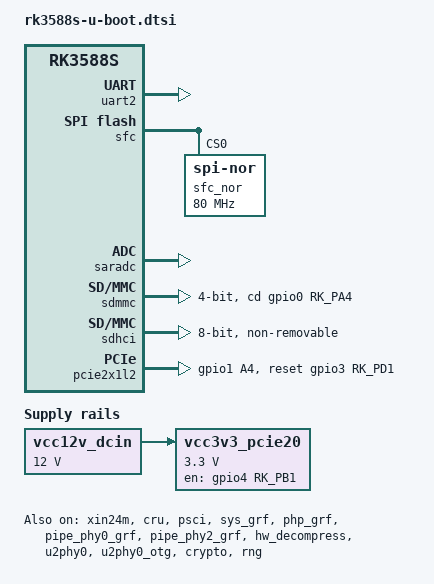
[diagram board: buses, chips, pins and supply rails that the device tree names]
/*
 * (C) Copyright 2021 Rockchip Electronics Co., Ltd
 *
 * SPDX-License-Identifier:     GPL-2.0+
 */

#include <dt-bindings/gpio/gpio.h>

/ {
	aliases {
		mmc0 = &sdhci;
		mmc1 = &sdmmc;
	};

	chosen {
		stdout-path = &uart2;
		u-boot,spl-boot-order = &spi_nor;
	};

	secure-otp@fe3a0000 {
		u-boot,dm-spl;
		compatible = "rockchip,rk3588-secure-otp";
		reg = <0x0 0xfe3a0000 0x0 0x4000>;
	};

	crypto: crypto@fe370000 {
                compatible = "rockchip,rk3588-crypto";
                reg = <0x0 0xfe370000 0x0 0x4000>;
                clocks = <&scmi_clk SCMI_CRYPTO_CORE>, <&scmi_clk SCMI_CRYPTO_PKA>;
                clock-names = "sclk_crypto", "apkclk_crypto";
                clock-frequency = <350000000>, <350000000>;
                status = "disabled";
        };

        rng: rng@fe378000 {
                compatible = "rockchip,trngv1";
                reg = <0x0 0xfe378000 0x0 0x200>;
                status = "disabled";
        };

	vcc12v_dcin: vcc12v-dcin {
                compatible = "regulator-fixed";
                regulator-name = "vcc12v_dcin";
                regulator-always-on;
                regulator-boot-on;
                regulator-min-microvolt = <12000000>;
                regulator-max-microvolt = <12000000>;
        };

	vcc3v3_pcie20: vcc3v3-pcie20 {
                compatible = "regulator-fixed";
                regulator-name = "vcc3v3_pcie20";
                regulator-min-microvolt = <3300000>;
                regulator-max-microvolt = <3300000>;
                enable-active-high;
                gpios = <&gpio4 RK_PB1 GPIO_ACTIVE_HIGH>;
                startup-delay-us = <5000>;
                vin-supply = <&vcc12v_dcin>;
        };
};

&firmware {
	u-boot,dm-spl;
};

&gpio0 {
	u-boot,dm-spl;
	status = "okay";
};
&gpio1 {
	u-boot,dm-pre-reloc;
	status = "okay";
};

&gpio2 {
	u-boot,dm-pre-reloc;
	status = "okay";
};
&gpio3 {
	u-boot,dm-pre-reloc;
	status = "okay";
};

&gpio4 {
	u-boot,dm-pre-reloc;
	status = "okay";
};

&scmi {
	u-boot,dm-spl;
};

&scmi_clk {
	u-boot,dm-spl;
};

&sram {
	u-boot,dm-spl;
};

&scmi_shmem {
	u-boot,dm-spl;
};

&xin24m {
	u-boot,dm-pre-reloc;
	status = "okay";
};

&cru {
	u-boot,dm-spl;
	status = "okay";
};

&psci {
	u-boot,dm-pre-reloc;
	status = "okay";
};

&crypto {
	u-boot,dm-spl;
	status = "okay";
};

&sys_grf {
	u-boot,dm-spl;
	status = "okay";
};

&php_grf {
	u-boot,dm-pre-reloc;
	status = "okay";
};

&pipe_phy0_grf {
	u-boot,dm-pre-reloc;
	status = "okay";
};

&pipe_phy2_grf {
	u-boot,dm-pre-reloc;
	status = "okay";
};

&uart2 {
	u-boot,dm-spl;
	status = "okay";
};

&hw_decompress {
	u-boot,dm-spl;
	status = "okay";
};

&rng {
	u-boot,dm-pre-reloc;
	status = "okay";
};

&sfc {
	u-boot,dm-spl;
	status = "okay";

	#address-cells = <1>;
	#size-cells = <0>;

	spi_nor: flash@0 {
		u-boot,dm-spl;
		compatible = "jedec,spi-nor";
		label = "sfc_nor";
		reg = <0>;
		spi-tx-bus-width = <1>;
		spi-rx-bus-width = <4>;
		spi-max-frequency = <80000000>;
	};
};

&saradc {
	u-boot,dm-pre-reloc;
	status = "okay";
};

&sdmmc {
	bus-width = <4>;
	u-boot,dm-spl;
	cd-gpios = <&gpio0 RK_PA4 GPIO_ACTIVE_HIGH>;
	status = "okay";
};

&sdhci {
	bus-width = <8>;
	u-boot,dm-spl;
	mmc-hs200-1_8v;
	non-removable;
	status = "okay";
};

&usb2phy0_grf {
	u-boot,dm-pre-reloc;
};

&u2phy0 {
	u-boot,dm-pre-reloc;
	status = "okay";
};

&u2phy0_otg {
	u-boot,dm-pre-reloc;
	status = "okay";
};

/* Support SPL-PINCTRL:
 * 1. ioc
 * 2. pinctrl(sdmmc)
 * 3. gpio if need
 */
&ioc {
	u-boot,dm-spl;
};

&pinctrl {
	u-boot,dm-spl;
	/delete-node/ sdmmc;
	sdmmc {
		u-boot,dm-spl;
		sdmmc_bus4: sdmmc-bus4 {
			u-boot,dm-spl;
			rockchip,pins =
				/* sdmmc_d0 */
				<4 RK_PD0 1 &pcfg_pull_up_drv_level_2>,
				/* sdmmc_d1 */
				<4 RK_PD1 1 &pcfg_pull_up_drv_level_2>,
				/* sdmmc_d2 */
				<4 RK_PD2 1 &pcfg_pull_up_drv_level_2>,
				/* sdmmc_d3 */
				<4 RK_PD3 1 &pcfg_pull_up_drv_level_2>;
		};

		sdmmc_clk: sdmmc-clk {
			u-boot,dm-spl;
			rockchip,pins =
				/* sdmmc_clk */
				<4 RK_PD5 1 &pcfg_pull_up_drv_level_2>;
		};

		sdmmc_cmd: sdmmc-cmd {
			u-boot,dm-spl;
			rockchip,pins =
				/* sdmmc_cmd */
				<4 RK_PD4 1 &pcfg_pull_up_drv_level_2>;
		};

		sdmmc_det: sdmmc-det {
			u-boot,dm-spl;
			rockchip,pins =
				/* sdmmc_det */
				<0 RK_PA4 1 &pcfg_pull_up>;
		};

		sdmmc_pwren: sdmmc-pwren {
			u-boot,dm-spl;
			rockchip,pins =
				/* sdmmc_pwren */
				<0 RK_PA5 2 &pcfg_pull_none>;
		};
	};

	rtl8111 {
                rtl8111_isolate: rtl8111-isolate {
                        rockchip,pins = <1 RK_PA4 RK_FUNC_GPIO &pcfg_pull_up>;
                };
        };
};

&pcie2x1l2 {
        reset-gpios = <&gpio3 RK_PD1 GPIO_ACTIVE_HIGH>;
        rockchip,skip-scan-in-resume;
        pinctrl-names = "default";
        pinctrl-0 = <&rtl8111_isolate>;
        status = "okay";
};

&pcfg_pull_up_drv_level_2 {
	u-boot,dm-spl;
};

&pcfg_pull_up {
	u-boot,dm-spl;
};

&pcfg_pull_none
{
	u-boot,dm-spl;
};
